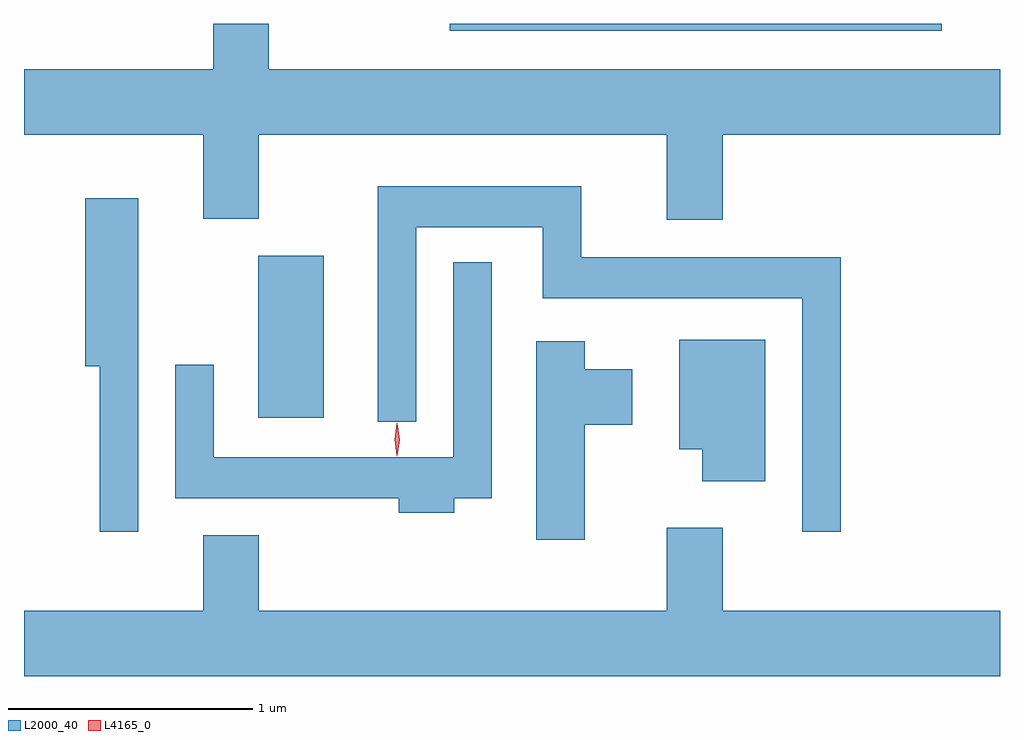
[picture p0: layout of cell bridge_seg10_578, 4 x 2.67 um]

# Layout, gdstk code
import gdstk
lib = gdstk.Library(unit=1e-6, precision=1e-09)
def R(c, l, rs):  # rectangles x0, y0, x1, y1
    for r in rs: c.add(gdstk.rectangle(r[:2], r[2:], *l))
def P(c, l, *ps):  # polygons
    for p in ps: c.add(gdstk.Polygon(p, *l))
L2000_40 = (2000, 40)
L4165_0 = (4165, 0)

bridge_seg10_578 = lib.new_cell('bridge_seg10_578')
R(bridge_seg10_578, L2000_40, [(820.956,2139.396,821.224,2140.059), (821.741,2140.981,823.758,2141.01)])
P(bridge_seg10_578, L2000_40, [(822.859,2140.556),(823.996,2140.556),(823.996,2140.824),(820.999,2140.824),(820.999,2141.01),(820.771,2141.01),(820.771,2140.824),(819.996,2140.824),(819.996,2140.556),(820.731,2140.556),(820.731,2140.211),(820.959,2140.211),(820.959,2140.556),(822.631,2140.556),(822.631,2140.206),(822.859,2140.206)],
  [(823.344,2140.054),(822.279,2140.054),(822.279,2140.344),(821.446,2140.344),(821.446,2139.378),(821.604,2139.378),(821.604,2140.176),(822.121,2140.176),(822.121,2139.886),(823.186,2139.886),(823.186,2138.928),(823.344,2138.928)],
  [(820.464,2140.294),(820.246,2140.294),(820.246,2139.606),(820.306,2139.606),(820.306,2138.928),(820.464,2138.928)],
  [(821.759,2139.066),(821.914,2139.066),(821.914,2140.033),(821.756,2140.033),(821.756,2139.234),(820.774,2139.234),(820.774,2139.613),(820.616,2139.613),(820.616,2139.066),(821.531,2139.066),(821.531,2139.006),(821.759,2139.006)],
  [(823.034,2139.714),(822.681,2139.714),(822.681,2139.266),(822.776,2139.266),(822.776,2139.136),(823.034,2139.136)],
  [(822.294,2139.366),(822.489,2139.366),(822.489,2139.594),(822.294,2139.594),(822.294,2139.709),(822.096,2139.709),(822.096,2138.896),(822.294,2138.896)],
  [(823.996,2138.604),(822.859,2138.604),(822.859,2138.944),(822.631,2138.944),(822.631,2138.604),(820.959,2138.604),(820.959,2138.914),(820.731,2138.914),(820.731,2138.604),(819.996,2138.604),(819.996,2138.336),(823.996,2138.336)])
P(bridge_seg10_578, L4165_0, [(821.525,2139.239),(821.524,2139.24),(821.515,2139.306),(821.524,2139.372),(821.525,2139.373),(821.525,2139.372),(821.535,2139.306),(821.525,2139.24)])

lib.write_gds('bridge_seg10_578.gds')
